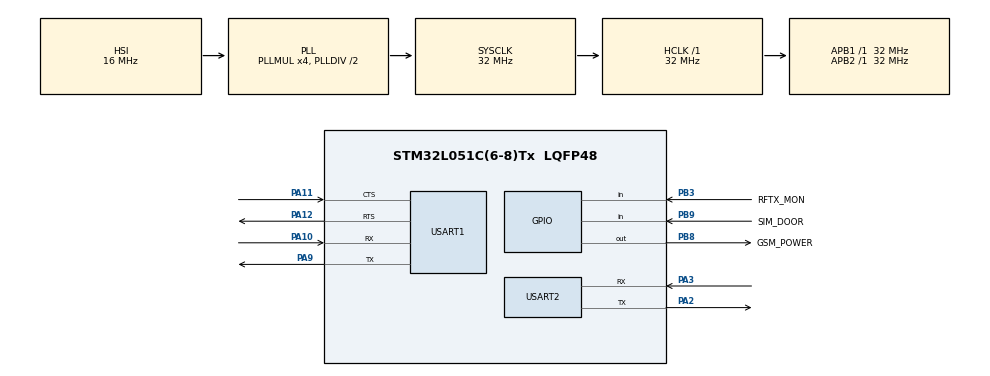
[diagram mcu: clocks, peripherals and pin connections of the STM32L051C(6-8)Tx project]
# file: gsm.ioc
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Mcu.Family=STM32L0
Mcu.Name=STM32L051C(6-8)Tx
Mcu.Package=LQFP48
NVIC.USART2_IRQn=true\:0\:0\:false\:false\:true\:true\:true\:true
PA10.Mode=Asynchronous
PA10.Signal=USART1_RX
PA11.Mode=CTS_RTS
PA11.Signal=USART1_CTS
PA12.Mode=CTS_RTS
PA12.Signal=USART1_RTS
PA13.Mode=Serial_Wire
PA13.Signal=SYS_SWDIO
PA14.Mode=Serial_Wire
PA14.Signal=SYS_SWCLK
PA2.Mode=Asynchronous
PA2.Signal=USART2_TX
PA3.Mode=Asynchronous
PA3.Signal=USART2_RX
PA9.Mode=Asynchronous
PA9.Signal=USART1_TX
PB3.GPIO_Label=RFTX_MON
PB3.Signal=GPIO_Input
PB8.GPIO_Label=GSM_POWER
PB8.Signal=GPIO_Output
PB9.GPIO_Label=SIM_DOOR
PB9.Signal=GPIO_Input
ProjectManager.HeapSize=0x200
ProjectManager.StackSize=0x400
ProjectManager.TargetToolchain=STM32CubeIDE
RCC.AHBFreq_Value=32000000
RCC.APB1Freq_Value=32000000
RCC.APB1TimFreq_Value=32000000
RCC.APB2Freq_Value=32000000
RCC.APB2TimFreq_Value=32000000
RCC.HCLKFreq_Value=32000000
RCC.HSE_VALUE=8000000
RCC.HSI16_VALUE=16000000
RCC.HSI_VALUE=16000000
RCC.LSE_VALUE=32768
RCC.MSI_VALUE=2097000
RCC.PLLMUL=RCC_PLLMUL_4
RCC.SYSCLKFreq_VALUE=32000000
RCC.SYSCLKSource=RCC_SYSCLKSOURCE_PLLCLK
RCC.VCOOutputFreq_Value=64000000
USART1.VirtualMode-Asynchronous=VM_ASYNC
USART2.VirtualMode-Asynchronous=VM_ASYNC
board=custom

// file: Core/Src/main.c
/* USER CODE BEGIN Header */
/**
  ******************************************************************************
  * @file           : main.c
  * @brief          : Main program body
  ******************************************************************************
  * @attention
  *
  * Copyright (c) 2023 STMicroelectronics.
  * All rights reserved.
  *
  * This software is licensed under terms that can be found in the LICENSE file
  * in the root directory of this software component.
  * If no LICENSE file comes with this software, it is provided AS-IS.
  *
  ******************************************************************************
  */
/* USER CODE END Header */
#include "main.h"

/* USER CODE BEGIN Includes */

#include "gsm.h"
#include "sensor.h"
/* USER CODE END Includes */

/* USER CODE BEGIN PV */
gsm_t gsm;
sensorPacket_t sensorPacket;
/* USER CODE END PV */

void SystemClock_Config(void);
static void MX_GPIO_Init(void);
static void MX_USART1_UART_Init(void);
static void MX_USART2_UART_Init(void);

int main(void)
{

  /* MCU Configuration--------------------------------------------------------*/

  /* Reset of all peripherals, Initializes the Flash interface and the Systick. */
  HAL_Init();

  /* Configure the system clock */
  SystemClock_Config();

  /* Initialize all configured peripherals */
  MX_GPIO_Init();
  MX_USART1_UART_Init();
  MX_USART2_UART_Init();
  /* USER CODE BEGIN 2 */

  quectell_begin();

	//MODUL BILGISI
	gsm= quectell_ATcommand_data(ATI,2);

	//IMEI
	HAL_Delay(1000);
	memset(&gsm, '\0', sizeof(gsm));
	gsm= quectell_ATcommand_data(imei,2);

//	strncpy(&sensorPacket.DeviceID[0],&gsm.data[9],15);

	gsm_imei_parse(&gsm, &sensorPacket);

//	//GSM DURUM SORGULAMA
//	HAL_Delay(1000);
//	memset(&gsm, '\0', sizeof(gsm));
//	gsm= quectell_ATcommand_data(QueryStateofInitialization,10);

	//GSM DURUM
	HAL_Delay(1000);
	memset(&gsm, '\0', sizeof(gsm));
	gsm= quectell_ATcommand_data(QueryGSMNetworkStatus,10);

	//BAGLANTI MODU SECIMI
	HAL_Delay(1000);
	memset(&gsm, '\0', sizeof(gsm));
	gsm= quectell_ATcommand_data(NetworkRegistrationL1,10);

	//BAGLANDIMI
	HAL_Delay(1000);
	memset(&gsm, '\0', sizeof(gsm));
	gsm= quectell_ATcommand_data(NetworkRegistrationStatus,10);

	//NETWORK SENKRONIZASYON AKTIFLESTIRME
	HAL_Delay(1000);
	memset(&gsm, '\0', sizeof(gsm));
	gsm= quectell_ATcommand_data(NetworkTimeSynchronization,10);
	HAL_Delay(1000);
	memset(&gsm, '\0', sizeof(gsm));
	gsm= quectell_ATcommand_data(NetworkTimeSyncReport,10);

	//TARIH SAAT BILGISI
	HAL_Delay(1000);
	memset(&gsm, '\0', sizeof(gsm));
	gsm= quectell_ATcommand_data(LatestNetworkTimeSynchronized,10);

	HAL_Delay(1000);
	memset(&gsm, '\0', sizeof(gsm));
	gsm= quectell_ATcommand_data(NetworkTime,10);

	gsm_timeDate_parse(&gsm, &sensorPacket);

//	//SIM OKUMA CALISMIYOR
//	HAL_Delay(1000);
//	memset(&gsm, '\0', sizeof(gsm));
//	gsm= quectell_ATcommand_data(SIMInsertedStatusActive,10);
//
//	HAL_Delay(1000);
//	memset(&gsm, '\0', sizeof(gsm));
//	gsm= quectell_ATcommand_data(SIMInsertedStatusReporting,10);

//	//ARAMA
//	HAL_Delay(1000);
//	memset(&gsm, '\0', sizeof(gsm));
//	gsm= quectell_ATcommand_data(ARAMA,10);
//
//	//KAPATMA
//	HAL_Delay(10000);
//	memset(&gsm, '\0', sizeof(gsm));
//	gsm= quectell_ATcommand_data(KAPATMA,10);

	//OPERATOR NAME
	HAL_Delay(1000);
	memset(&gsm, '\0', sizeof(gsm));
	gsm= quectell_ATcommand_data(OperatorSelection,10);

	//OPERATOR SIGNAL
	HAL_Delay(1000);
	memset(&gsm, '\0', sizeof(gsm));
	gsm= quectell_ATcommand_data(OperatorSignal,10);

//	//MESAJ
//	HAL_Delay(1000);
//	memset(&gsm, '\0', sizeof(gsm));
//	gsm= quectell_message_data(sendMessageNumber, sendMessageData);

	HAL_Delay(1000);
	memset(&gsm, '\0', sizeof(gsm));

  /* USER CODE END 2 */

  /* Infinite loop */
  /* USER CODE BEGIN WHILE */
  while (1)
  {

	  HAL_Delay(2000);
	  memset(&gsm, '\0', sizeof(gsm));

    /* USER CODE END WHILE */

  }
}

void SystemClock_Config(void)
{
  RCC_OscInitTypeDef RCC_OscInitStruct = {0};
  RCC_ClkInitTypeDef RCC_ClkInitStruct = {0};
  RCC_PeriphCLKInitTypeDef PeriphClkInit = {0};

  /** Configure the main internal regulator output voltage
  */
  __HAL_PWR_VOLTAGESCALING_CONFIG(PWR_REGULATOR_VOLTAGE_SCALE1);

  /** Initializes the RCC Oscillators according to the specified parameters
  * in the RCC_OscInitTypeDef structure.
  */
  RCC_OscInitStruct.OscillatorType = RCC_OSCILLATORTYPE_HSI;
  RCC_OscInitStruct.HSIState = RCC_HSI_ON;
  RCC_OscInitStruct.HSICalibrationValue = RCC_HSICALIBRATION_DEFAULT;
  RCC_OscInitStruct.PLL.PLLState = RCC_PLL_ON;
  RCC_OscInitStruct.PLL.PLLSource = RCC_PLLSOURCE_HSI;
  RCC_OscInitStruct.PLL.PLLMUL = RCC_PLLMUL_4;
  RCC_OscInitStruct.PLL.PLLDIV = RCC_PLLDIV_2;
  if (HAL_RCC_OscConfig(&RCC_OscInitStruct) != HAL_OK)
  {
    Error_Handler();
  }

  /** Initializes the CPU, AHB and APB buses clocks
  */
  RCC_ClkInitStruct.ClockType = RCC_CLOCKTYPE_HCLK|RCC_CLOCKTYPE_SYSCLK
                              |RCC_CLOCKTYPE_PCLK1|RCC_CLOCKTYPE_PCLK2;
  RCC_ClkInitStruct.SYSCLKSource = RCC_SYSCLKSOURCE_PLLCLK;
  RCC_ClkInitStruct.AHBCLKDivider = RCC_SYSCLK_DIV1;
  RCC_ClkInitStruct.APB1CLKDivider = RCC_HCLK_DIV1;
  RCC_ClkInitStruct.APB2CLKDivider = RCC_HCLK_DIV1;

  if (HAL_RCC_ClockConfig(&RCC_ClkInitStruct, FLASH_LATENCY_1) != HAL_OK)
  {
    Error_Handler();
  }
  PeriphClkInit.PeriphClockSelection = RCC_PERIPHCLK_USART1|RCC_PERIPHCLK_USART2;
  PeriphClkInit.Usart1ClockSelection = RCC_USART1CLKSOURCE_PCLK2;
  PeriphClkInit.Usart2ClockSelection = RCC_USART2CLKSOURCE_PCLK1;
  if (HAL_RCCEx_PeriphCLKConfig(&PeriphClkInit) != HAL_OK)
  {
    Error_Handler();
  }
}

static void MX_USART1_UART_Init(void)
{

  huart1.Instance = USART1;
  huart1.Init.BaudRate = 115200;
  huart1.Init.WordLength = UART_WORDLENGTH_8B;
  huart1.Init.StopBits = UART_STOPBITS_1;
  huart1.Init.Parity = UART_PARITY_NONE;
  huart1.Init.Mode = UART_MODE_TX_RX;
  huart1.Init.HwFlowCtl = UART_HWCONTROL_RTS_CTS;
  huart1.Init.OverSampling = UART_OVERSAMPLING_16;
  huart1.Init.OneBitSampling = UART_ONE_BIT_SAMPLE_DISABLE;
  huart1.AdvancedInit.AdvFeatureInit = UART_ADVFEATURE_NO_INIT;
  if (HAL_UART_Init(&huart1) != HAL_OK)
  {
    Error_Handler();
  }

}

static void MX_USART2_UART_Init(void)
{

  huart2.Instance = USART2;
  huart2.Init.BaudRate = 115200;
  huart2.Init.WordLength = UART_WORDLENGTH_8B;
  huart2.Init.StopBits = UART_STOPBITS_1;
  huart2.Init.Parity = UART_PARITY_NONE;
  huart2.Init.Mode = UART_MODE_TX_RX;
  huart2.Init.HwFlowCtl = UART_HWCONTROL_NONE;
  huart2.Init.OverSampling = UART_OVERSAMPLING_16;
  huart2.Init.OneBitSampling = UART_ONE_BIT_SAMPLE_DISABLE;
  huart2.AdvancedInit.AdvFeatureInit = UART_ADVFEATURE_NO_INIT;
  if (HAL_UART_Init(&huart2) != HAL_OK)
  {
    Error_Handler();
  }

}

static void MX_GPIO_Init(void)
{
  GPIO_InitTypeDef GPIO_InitStruct = {0};

  /* GPIO Ports Clock Enable */
  __HAL_RCC_GPIOA_CLK_ENABLE();
  __HAL_RCC_GPIOB_CLK_ENABLE();

  /*Configure GPIO pin Output Level */
  HAL_GPIO_WritePin(GSM_POWER_GPIO_Port, GSM_POWER_Pin, GPIO_PIN_RESET);

  /*Configure GPIO pins : RFTX_MON_Pin SIM_DOOR_Pin */
  GPIO_InitStruct.Pin = RFTX_MON_Pin|SIM_DOOR_Pin;
  GPIO_InitStruct.Mode = GPIO_MODE_INPUT;
  GPIO_InitStruct.Pull = GPIO_NOPULL;
  HAL_GPIO_Init(GPIOB, &GPIO_InitStruct);

  /*Configure GPIO pin : GSM_POWER_Pin */
  GPIO_InitStruct.Pin = GSM_POWER_Pin;
  GPIO_InitStruct.Mode = GPIO_MODE_OUTPUT_PP;
  GPIO_InitStruct.Pull = GPIO_NOPULL;
  GPIO_InitStruct.Speed = GPIO_SPEED_FREQ_LOW;
  HAL_GPIO_Init(GSM_POWER_GPIO_Port, &GPIO_InitStruct);

}

void Error_Handler(void)
{
  __disable_irq();
  while (1)
  {
  }
}
